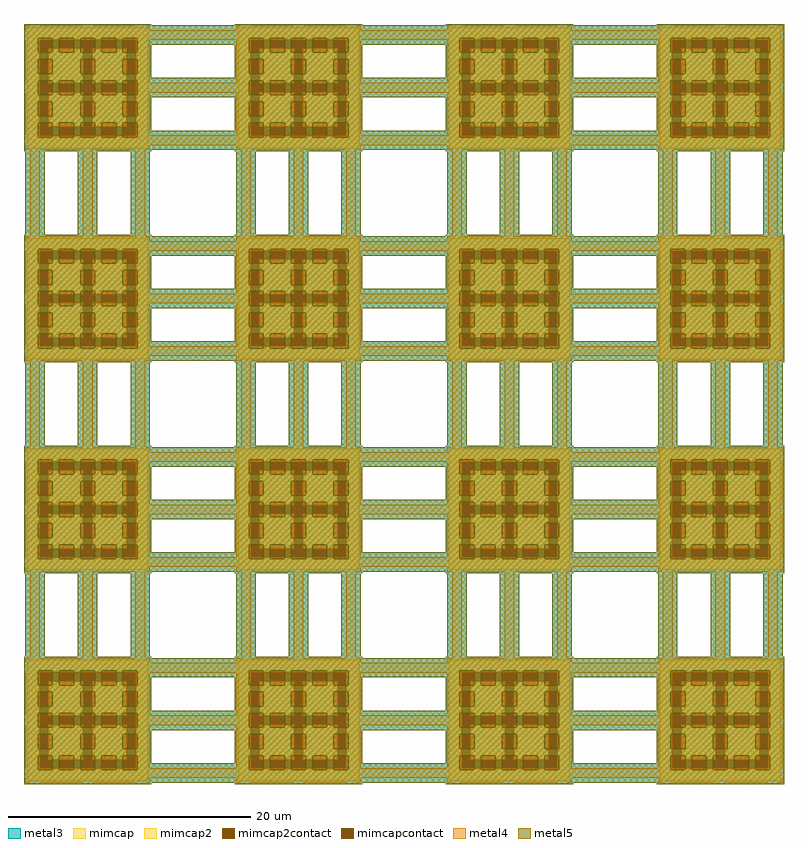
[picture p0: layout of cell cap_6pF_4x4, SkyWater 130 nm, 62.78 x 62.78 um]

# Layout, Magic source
magic
tech sky130A
use cap_10_10__side_x2  cap_10_10__side_x2_0
transform 1 0 -1363 0 1 2116
box -34 -374 1363 1368
use cap_10_10__side_x2  cap_10_10__side_x2_1
transform 1 0 -1363 0 1 374
box -34 -374 1363 1368
use cap_10_10__side_x2  cap_10_10__side_x2_2
transform 0 -1 1368 1 0 -1363
box -34 -374 1363 1368
use cap_10_10__side_x2  cap_10_10__side_x2_3
transform 0 -1 3110 1 0 -1363
box -34 -374 1363 1368
use cap_10_10__side_x2  cap_10_10__side_x2_4
transform -1 0 4847 0 -1 1368
box -34 -374 1363 1368
use cap_10_10__side_x2  cap_10_10__side_x2_5
transform -1 0 4847 0 -1 3110
box -34 -374 1363 1368
use cap_10_10__side_x2  cap_10_10__side_x2_6
transform 0 1 2116 -1 0 4847
box -34 -374 1363 1368
use cap_10_10__side_x2  cap_10_10__side_x2_7
transform 0 1 374 -1 0 4847
box -34 -374 1363 1368
use cap_10_10_edge_x2  cap_10_10_edge_x2_0
transform 0 1 -1368 -1 0 4847
box -34 -29 1363 1368
use cap_10_10_edge_x2  cap_10_10_edge_x2_1
transform -1 0 4847 0 -1 4852
box -34 -29 1363 1368
use cap_10_10_edge_x2  cap_10_10_edge_x2_2
transform 0 -1 4852 1 0 -1363
box -34 -29 1363 1368
use cap_10_10_edge_x2  cap_10_10_edge_x2_3
transform 1 0 -1363 0 1 -1368
box -34 -29 1363 1368
use cap_10_10_x2  cap_10_10_x2_0
array 0 1 1742 0 1 1742
transform 1 0 379 0 1 374
box -379 -374 1363 1368
<< end >>

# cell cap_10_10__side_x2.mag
magic
tech sky130A
<< metal3 >>
rect -22 1024 138 1368
rect -34 1023 138 1024
rect 412 1023 572 1368
rect 846 1024 1006 1368
rect 846 1023 1019 1024
rect -34 1011 1019 1023
rect -34 851 1363 1011
rect -34 577 1018 851
rect -34 417 1363 577
rect -34 143 1018 417
rect -34 -17 1363 143
rect -34 -29 1019 -17
rect -34 -30 138 -29
rect -22 -374 138 -30
rect 412 -374 572 -29
rect 846 -30 1019 -29
rect 846 -374 1006 -30
<< mimcap >>
rect -8 893 992 997
rect -8 101 96 893
rect 168 533 456 821
rect 528 533 816 821
rect 168 173 456 461
rect 528 173 816 461
rect 888 101 992 893
rect -8 -3 992 101
<< mimcapcontact >>
rect 96 821 888 893
rect 96 533 168 821
rect 456 533 528 821
rect 816 533 888 821
rect 96 461 888 533
rect 96 173 168 461
rect 456 173 528 461
rect 816 173 888 461
rect 96 101 888 173
<< metal4 >>
rect 18 1011 98 1368
rect 452 1011 532 1368
rect 886 1011 966 1368
rect -22 971 1006 1011
rect -34 893 1363 971
rect -34 891 96 893
rect -22 537 96 891
rect 888 891 1363 893
rect -34 457 96 537
rect 168 533 456 821
rect 528 533 816 821
rect 888 537 1006 891
rect -22 103 96 457
rect 168 173 456 461
rect 528 173 816 461
rect 888 457 1363 537
rect -34 101 96 103
rect 888 103 1006 457
rect 888 101 1363 103
rect -34 23 1363 101
rect -22 -17 1006 23
rect 18 -374 98 -17
rect 452 -374 532 -17
rect 886 -374 966 -17
<< mimcap2 >>
rect -8 906 992 997
rect -8 788 83 906
rect 201 788 258 906
rect 376 788 433 906
rect 551 788 608 906
rect 726 788 783 906
rect 901 788 992 906
rect -8 731 992 788
rect -8 613 83 731
rect 201 613 433 731
rect 551 613 783 731
rect 901 613 992 731
rect -8 556 992 613
rect -8 438 83 556
rect 201 438 258 556
rect 376 438 433 556
rect 551 438 608 556
rect 726 438 783 556
rect 901 438 992 556
rect -8 381 992 438
rect -8 263 83 381
rect 201 263 433 381
rect 551 263 783 381
rect 901 263 992 381
rect -8 206 992 263
rect -8 88 83 206
rect 201 88 258 206
rect 376 88 433 206
rect 551 88 608 206
rect 726 88 783 206
rect 901 88 992 206
rect -8 -3 992 88
<< mimcap2contact >>
rect 83 788 201 906
rect 258 788 376 906
rect 433 788 551 906
rect 608 788 726 906
rect 783 788 901 906
rect 83 613 201 731
rect 433 613 551 731
rect 783 613 901 731
rect 83 438 201 556
rect 258 438 376 556
rect 433 438 551 556
rect 608 438 726 556
rect 783 438 901 556
rect 83 263 201 381
rect 433 263 551 381
rect 783 263 901 381
rect 83 88 201 206
rect 258 88 376 206
rect 433 88 551 206
rect 608 88 726 206
rect 783 88 901 206
<< metal5 >>
rect -22 1024 138 1368
rect -34 1023 138 1024
rect 412 1023 572 1368
rect 846 1024 1006 1368
rect 846 1023 1019 1024
rect -34 1011 1019 1023
rect -34 906 1363 1011
rect -34 788 83 906
rect 201 788 258 906
rect 376 788 433 906
rect 551 788 608 906
rect 726 788 783 906
rect 901 851 1363 906
rect 901 788 1018 851
rect -34 731 1018 788
rect -34 613 83 731
rect 201 613 433 731
rect 551 613 783 731
rect 901 613 1018 731
rect -34 577 1018 613
rect -34 556 1363 577
rect -34 438 83 556
rect 201 438 258 556
rect 376 438 433 556
rect 551 438 608 556
rect 726 438 783 556
rect 901 438 1363 556
rect -34 417 1363 438
rect -34 381 1018 417
rect -34 263 83 381
rect 201 263 433 381
rect 551 263 783 381
rect 901 263 1018 381
rect -34 206 1018 263
rect -34 88 83 206
rect 201 88 258 206
rect 376 88 433 206
rect 551 88 608 206
rect 726 88 783 206
rect 901 143 1018 206
rect 901 88 1363 143
rect -34 -17 1363 88
rect -34 -29 1019 -17
rect -34 -30 138 -29
rect -22 -374 138 -30
rect 412 -374 572 -29
rect 846 -30 1019 -29
rect 846 -374 1006 -30
<< end >>

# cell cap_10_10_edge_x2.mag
magic
tech sky130A
<< metal3 >>
rect -22 1024 138 1368
rect -34 1023 138 1024
rect 412 1023 572 1368
rect 846 1024 1006 1368
rect 846 1023 1019 1024
rect -34 1011 1019 1023
rect -34 851 1363 1011
rect -34 577 1018 851
rect -34 417 1363 577
rect -34 143 1018 417
rect -34 -17 1363 143
rect -34 -29 1019 -17
<< mimcap >>
rect -8 893 992 997
rect -8 101 96 893
rect 168 533 456 821
rect 528 533 816 821
rect 168 173 456 461
rect 528 173 816 461
rect 888 101 992 893
rect -8 -3 992 101
<< mimcapcontact >>
rect 96 821 888 893
rect 96 533 168 821
rect 456 533 528 821
rect 816 533 888 821
rect 96 461 888 533
rect 96 173 168 461
rect 456 173 528 461
rect 816 173 888 461
rect 96 101 888 173
<< metal4 >>
rect 18 1011 98 1368
rect 452 1011 532 1368
rect 886 1011 966 1368
rect -22 971 1006 1011
rect -34 893 1363 971
rect -34 891 96 893
rect -22 537 96 891
rect 888 891 1363 893
rect -34 457 96 537
rect 168 533 456 821
rect 528 533 816 821
rect 888 537 1006 891
rect -22 103 96 457
rect 168 173 456 461
rect 528 173 816 461
rect 888 457 1363 537
rect -34 101 96 103
rect 888 103 1006 457
rect 888 101 1363 103
rect -34 23 1363 101
rect -22 -17 1006 23
rect 18 -29 98 -17
rect 452 -29 532 -17
rect 886 -29 966 -17
<< mimcap2 >>
rect -8 906 992 997
rect -8 788 83 906
rect 201 788 258 906
rect 376 788 433 906
rect 551 788 608 906
rect 726 788 783 906
rect 901 788 992 906
rect -8 731 992 788
rect -8 613 83 731
rect 201 613 433 731
rect 551 613 783 731
rect 901 613 992 731
rect -8 556 992 613
rect -8 438 83 556
rect 201 438 258 556
rect 376 438 433 556
rect 551 438 608 556
rect 726 438 783 556
rect 901 438 992 556
rect -8 381 992 438
rect -8 263 83 381
rect 201 263 433 381
rect 551 263 783 381
rect 901 263 992 381
rect -8 206 992 263
rect -8 88 83 206
rect 201 88 258 206
rect 376 88 433 206
rect 551 88 608 206
rect 726 88 783 206
rect 901 88 992 206
rect -8 -3 992 88
<< mimcap2contact >>
rect 83 788 201 906
rect 258 788 376 906
rect 433 788 551 906
rect 608 788 726 906
rect 783 788 901 906
rect 83 613 201 731
rect 433 613 551 731
rect 783 613 901 731
rect 83 438 201 556
rect 258 438 376 556
rect 433 438 551 556
rect 608 438 726 556
rect 783 438 901 556
rect 83 263 201 381
rect 433 263 551 381
rect 783 263 901 381
rect 83 88 201 206
rect 258 88 376 206
rect 433 88 551 206
rect 608 88 726 206
rect 783 88 901 206
<< metal5 >>
rect -22 1024 138 1368
rect -34 1023 138 1024
rect 412 1023 572 1368
rect 846 1024 1006 1368
rect 846 1023 1019 1024
rect -34 1011 1019 1023
rect -34 906 1363 1011
rect -34 788 83 906
rect 201 788 258 906
rect 376 788 433 906
rect 551 788 608 906
rect 726 788 783 906
rect 901 851 1363 906
rect 901 788 1018 851
rect -34 731 1018 788
rect -34 613 83 731
rect 201 613 433 731
rect 551 613 783 731
rect 901 613 1018 731
rect -34 577 1018 613
rect -34 556 1363 577
rect -34 438 83 556
rect 201 438 258 556
rect 376 438 433 556
rect 551 438 608 556
rect 726 438 783 556
rect 901 438 1363 556
rect -34 417 1363 438
rect -34 381 1018 417
rect -34 263 83 381
rect 201 263 433 381
rect 551 263 783 381
rect 901 263 1018 381
rect -34 206 1018 263
rect -34 88 83 206
rect 201 88 258 206
rect 376 88 433 206
rect 551 88 608 206
rect 726 88 783 206
rect 901 143 1018 206
rect 901 88 1363 143
rect -34 -17 1363 88
rect -34 -29 1019 -17
<< end >>

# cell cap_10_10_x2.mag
magic
tech sky130A
<< metal3 >>
rect -22 1024 138 1368
rect -35 1023 138 1024
rect 412 1023 572 1368
rect 846 1024 1006 1368
rect 846 1023 1019 1024
rect -35 1011 1019 1023
rect -379 851 1363 1011
rect -34 577 1018 851
rect -379 417 1363 577
rect -34 143 1018 417
rect -379 -17 1363 143
rect -35 -29 1019 -17
rect -35 -30 138 -29
rect -22 -374 138 -30
rect 412 -374 572 -29
rect 846 -30 1019 -29
rect 846 -374 1006 -30
<< mimcap >>
rect -8 893 992 997
rect -8 101 96 893
rect 168 533 456 821
rect 528 533 816 821
rect 168 173 456 461
rect 528 173 816 461
rect 888 101 992 893
rect -8 -3 992 101
<< mimcapcontact >>
rect 96 821 888 893
rect 96 533 168 821
rect 456 533 528 821
rect 816 533 888 821
rect 96 461 888 533
rect 96 173 168 461
rect 456 173 528 461
rect 816 173 888 461
rect 96 101 888 173
<< metal4 >>
rect 18 1011 98 1368
rect 452 1011 532 1368
rect 886 1011 966 1368
rect -22 971 1006 1011
rect -379 893 1363 971
rect -379 891 96 893
rect -22 537 96 891
rect 888 891 1363 893
rect -379 457 96 537
rect 168 533 456 821
rect 528 533 816 821
rect 888 537 1006 891
rect -22 103 96 457
rect 168 173 456 461
rect 528 173 816 461
rect 888 457 1363 537
rect -379 101 96 103
rect 888 103 1006 457
rect 888 101 1363 103
rect -379 23 1363 101
rect -22 -17 1006 23
rect 18 -374 98 -17
rect 452 -374 532 -17
rect 886 -374 966 -17
<< mimcap2 >>
rect -8 906 992 997
rect -8 788 83 906
rect 201 788 258 906
rect 376 788 433 906
rect 551 788 608 906
rect 726 788 783 906
rect 901 788 992 906
rect -8 731 992 788
rect -8 613 83 731
rect 201 613 433 731
rect 551 613 783 731
rect 901 613 992 731
rect -8 556 992 613
rect -8 438 83 556
rect 201 438 258 556
rect 376 438 433 556
rect 551 438 608 556
rect 726 438 783 556
rect 901 438 992 556
rect -8 381 992 438
rect -8 263 83 381
rect 201 263 433 381
rect 551 263 783 381
rect 901 263 992 381
rect -8 206 992 263
rect -8 88 83 206
rect 201 88 258 206
rect 376 88 433 206
rect 551 88 608 206
rect 726 88 783 206
rect 901 88 992 206
rect -8 -3 992 88
<< mimcap2contact >>
rect 83 788 201 906
rect 258 788 376 906
rect 433 788 551 906
rect 608 788 726 906
rect 783 788 901 906
rect 83 613 201 731
rect 433 613 551 731
rect 783 613 901 731
rect 83 438 201 556
rect 258 438 376 556
rect 433 438 551 556
rect 608 438 726 556
rect 783 438 901 556
rect 83 263 201 381
rect 433 263 551 381
rect 783 263 901 381
rect 83 88 201 206
rect 258 88 376 206
rect 433 88 551 206
rect 608 88 726 206
rect 783 88 901 206
<< metal5 >>
rect -22 1024 138 1368
rect -35 1023 138 1024
rect 412 1023 572 1368
rect 846 1024 1006 1368
rect 846 1023 1019 1024
rect -35 1011 1019 1023
rect -379 906 1363 1011
rect -379 851 83 906
rect -34 788 83 851
rect 201 788 258 906
rect 376 788 433 906
rect 551 788 608 906
rect 726 788 783 906
rect 901 851 1363 906
rect 901 788 1018 851
rect -34 731 1018 788
rect -34 613 83 731
rect 201 613 433 731
rect 551 613 783 731
rect 901 613 1018 731
rect -34 577 1018 613
rect -379 556 1363 577
rect -379 438 83 556
rect 201 438 258 556
rect 376 438 433 556
rect 551 438 608 556
rect 726 438 783 556
rect 901 438 1363 556
rect -379 417 1363 438
rect -34 381 1018 417
rect -34 263 83 381
rect 201 263 433 381
rect 551 263 783 381
rect 901 263 1018 381
rect -34 206 1018 263
rect -34 143 83 206
rect -379 88 83 143
rect 201 88 258 206
rect 376 88 433 206
rect 551 88 608 206
rect 726 88 783 206
rect 901 143 1018 206
rect 901 88 1363 143
rect -379 -17 1363 88
rect -35 -29 1019 -17
rect -35 -30 138 -29
rect -22 -374 138 -30
rect 412 -374 572 -29
rect 846 -30 1019 -29
rect 846 -374 1006 -30
<< end >>
